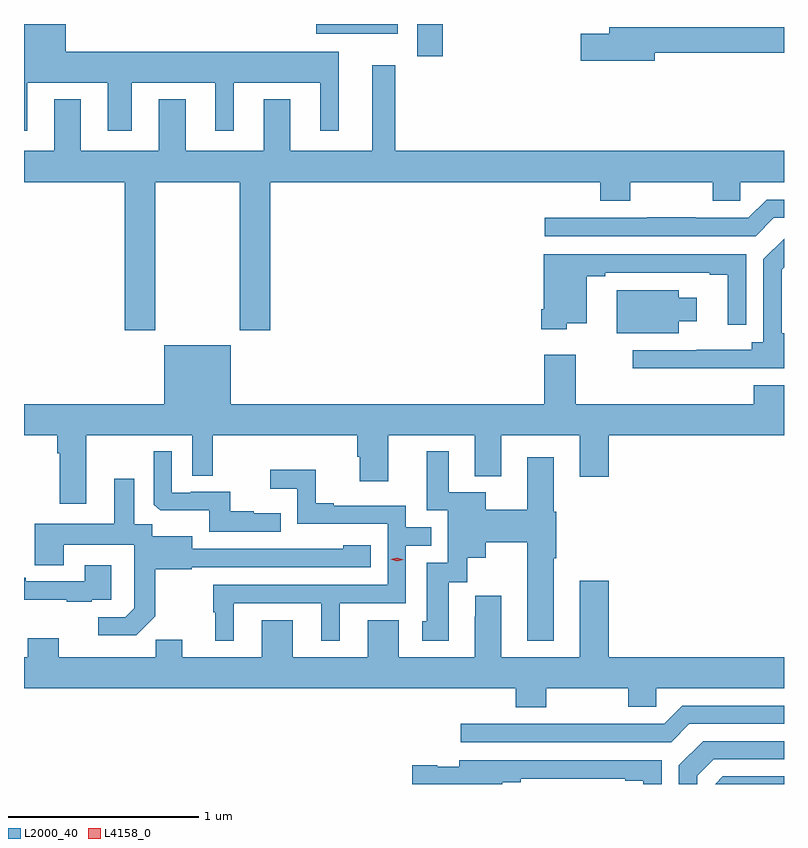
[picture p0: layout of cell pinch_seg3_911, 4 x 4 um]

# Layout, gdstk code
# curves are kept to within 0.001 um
import gdstk
lib = gdstk.Library(unit=1e-6, precision=1e-09)
def R(c, l, rs):  # rectangles x0, y0, x1, y1
    for r in rs: c.add(gdstk.rectangle(r[:2], r[2:], *l))
def P(c, l, *ps):  # polygons
    for p in ps: c.add(gdstk.Polygon(p, *l))
L2000_40 = (2000, 40)
L4158_0 = (4158, 0)

pinch_seg3_911 = lib.new_cell('pinch_seg3_911')
R(pinch_seg3_911, L2000_40, [(780.968,685.593,781.103,685.764), (780.438,685.712,780.867,685.764)])
P(pinch_seg3_911, L2000_40, [(778.915,685.454),(779.339,685.454),(779.339,685.203),(779.467,685.203),(779.467,685.454),(779.906,685.454),(779.906,685.203),(780.004,685.203),(780.004,685.454),(780.458,685.454),(780.458,685.203),(780.556,685.203),(780.556,685.618),(779.119,685.618),(779.119,685.764),(778.899,685.764),(778.899,685.203),(778.915,685.203)],
  [(782.218,685.612),(782.899,685.612),(782.899,685.748),(781.979,685.748),(781.979,685.712),(781.83,685.712),(781.83,685.57),(782.218,685.57)],
  [(779.589,684.932),(780.034,684.932),(780.034,684.153),(780.194,684.153),(780.194,684.932),(781.931,684.932),(781.931,684.833),(782.091,684.833),(782.091,684.932),(782.524,684.932),(782.524,684.834),(782.67,684.834),(782.67,684.932),(782.899,684.932),(782.899,685.096),(780.853,685.096),(780.853,685.546),(780.731,685.546),(780.731,685.096),(780.301,685.096),(780.301,685.369),(780.161,685.369),(780.161,685.096),(779.749,685.096),(779.749,685.369),(779.609,685.369),(779.609,685.096),(779.197,685.096),(779.197,685.369),(779.057,685.369),(779.057,685.096),(778.899,685.096),(778.899,684.932),(779.429,684.932),(779.429,684.153),(779.589,684.153)],
  [(782.845,684.744),(782.899,684.744),(782.899,684.84),(782.808,684.84),(782.712,684.744),(782.435,684.744),(782.435,684.746),(782.179,684.746),(782.179,684.744),(781.641,684.744),(781.641,684.648),(782.749,684.648)],
  [(782.73,683.952),(782.899,683.952),(782.899,684.136),(782.886,684.136),(782.886,684.471),(782.899,684.484),(782.899,684.635),(782.79,684.526),(782.79,684.089),(782.73,684.089),(782.73,684.049),(782.103,684.048),(782.103,683.951)],
  [(781.756,684.188),(781.861,684.188),(781.861,684.436),(781.957,684.436),(781.957,684.456),(782.507,684.456),(782.507,684.444),(782.603,684.444),(782.603,684.18),(782.7,684.18),(782.7,684.552),(781.634,684.552),(781.634,684.262),(781.622,684.262),(781.622,684.158),(781.756,684.158)],
  [(782.344,684.2),(782.44,684.2),(782.44,684.322),(782.344,684.322),(782.344,684.364),(782.018,684.364),(782.018,684.137),(782.344,684.137)],
  [(779.227,683.6),(779.784,683.6),(779.784,683.386),(779.893,683.386),(779.893,683.6),(780.653,683.6),(780.653,683.487),(780.665,683.487),(780.665,683.358),(780.817,683.358),(780.817,683.6),(781.271,683.6),(781.271,683.384),(781.411,683.384),(781.411,683.6),(781.823,683.6),(781.823,683.382),(781.976,683.382),(781.976,683.6),(782.899,683.6),(782.899,683.863),(782.741,683.863),(782.741,683.764),(781.802,683.764),(781.802,684.022),(781.637,684.022),(781.637,683.764),(779.986,683.764),(779.986,684.073),(779.636,684.073),(779.636,683.764),(778.899,683.764),(778.899,683.6),(779.075,683.6),(779.075,683.504),(779.087,683.504),(779.087,683.238),(779.227,683.238)],
  [(780.251,683.188),(780.107,683.188),(780.107,683.2),(779.984,683.2),(779.984,683.301),(779.776,683.301),(779.776,683.298),(779.676,683.298),(779.676,683.515),(779.583,683.515),(779.583,683.235),(779.615,683.204),(779.874,683.204),(779.874,683.091),(780.251,683.091)],
  [(781.687,682.952),(781.7,682.952),(781.7,683.196),(781.687,683.196),(781.687,683.485),(781.547,683.485),(781.547,683.208),(781.33,683.208),(781.33,683.299),(781.135,683.299),(781.135,683.515),(781.019,683.515),(781.019,683.205),(781.128,683.205),(781.128,682.929),(781.019,682.929),(781.019,682.62),(780.995,682.62),(780.995,682.518),(781.135,682.518),(781.135,682.826),(781.233,682.826),(781.233,682.955),(781.33,682.955),(781.33,683.036),(781.547,683.036),(781.547,682.517),(781.687,682.517)],
  [(780.004,682.716),(780.464,682.716),(780.464,682.517),(780.562,682.517),(780.562,682.716),(780.909,682.716),(780.909,683.019),(781.042,683.019),(781.042,683.115),(780.909,683.115),(780.909,683.229),(780.529,683.229),(780.529,683.242),(780.435,683.242),(780.435,683.417),(780.195,683.417),(780.195,683.318),(780.336,683.318),(780.336,683.133),(780.813,683.133),(780.813,682.812),(779.895,682.812),(779.895,682.668),(779.906,682.668),(779.906,682.517),(780.004,682.517)],
  [(779.589,682.647),(779.589,682.893),(779.781,682.893),(779.781,682.905),(780.724,682.905),(780.724,683.02),(780.579,683.02),(780.579,683.002),(779.785,683.001),(779.785,683.068),(779.574,683.068),(779.574,683.132),(779.479,683.132),(779.479,683.371),(779.375,683.371),(779.375,683.134),(778.955,683.134),(778.955,682.915),(779.107,682.915),(779.107,683.024),(779.478,683.024),(779.478,682.783),(779.48,682.783),(779.48,682.688),(779.433,682.641),(779.289,682.641),(779.289,682.547),(779.489,682.547)],
  [(779.255,682.734),(779.359,682.734),(779.359,682.915),(779.219,682.915),(779.219,682.83),(778.909,682.83),(778.909,682.849),(778.899,682.849),(778.899,682.733),(779.123,682.733),(779.123,682.722),(779.255,682.722)],
  [(781.647,682.268),(782.08,682.268),(782.08,682.17),(782.226,682.17),(782.226,682.268),(782.899,682.268),(782.899,682.432),(781.976,682.432),(781.976,682.834),(781.823,682.834),(781.823,682.432),(781.411,682.432),(781.411,682.756),(781.274,682.756),(781.274,682.643),(781.271,682.643),(781.271,682.432),(780.871,682.432),(780.871,682.627),(780.707,682.627),(780.707,682.432),(780.313,682.432),(780.313,682.627),(780.149,682.627),(780.149,682.432),(779.731,682.432),(779.731,682.523),(779.593,682.523),(779.593,682.432),(779.083,682.432),(779.083,682.531),(778.919,682.531),(778.919,682.432),(778.899,682.432),(778.899,682.268),(781.487,682.268),(781.487,682.169),(781.647,682.169)],
  [(782.401,682.08),(782.899,682.08),(782.899,682.176),(782.364,682.176),(782.268,682.08),(781.991,682.08),(781.991,682.082),(781.735,682.082),(781.735,682.08),(781.197,682.08),(781.197,681.984),(782.305,681.984)],
  [(782.442,681.807),(782.529,681.894),(782.899,681.894),(782.899,681.99),(782.474,681.99),(782.346,681.862),(782.346,681.764),(782.442,681.764)],
  [(781.417,681.772),(781.513,681.772),(781.513,681.792),(782.063,681.792),(782.063,681.78),(782.159,681.78),(782.159,681.764),(782.256,681.764),(782.256,681.888),(781.19,681.888),(781.19,681.856),(781.074,681.856),(781.074,681.864),(780.942,681.864),(780.942,681.764),(781.417,681.764)],
  [(782.899,681.804),(782.577,681.804),(782.537,681.764),(782.899,681.764)])
P(pinch_seg3_911, L4158_0, [(780.862,682.936),(780.829,682.948),(780.828,682.948),(780.829,682.948),(780.864,682.956),(780.897,682.945),(780.897,682.944),(780.897,682.944)])

lib.write_gds('pinch_seg3_911.gds')
